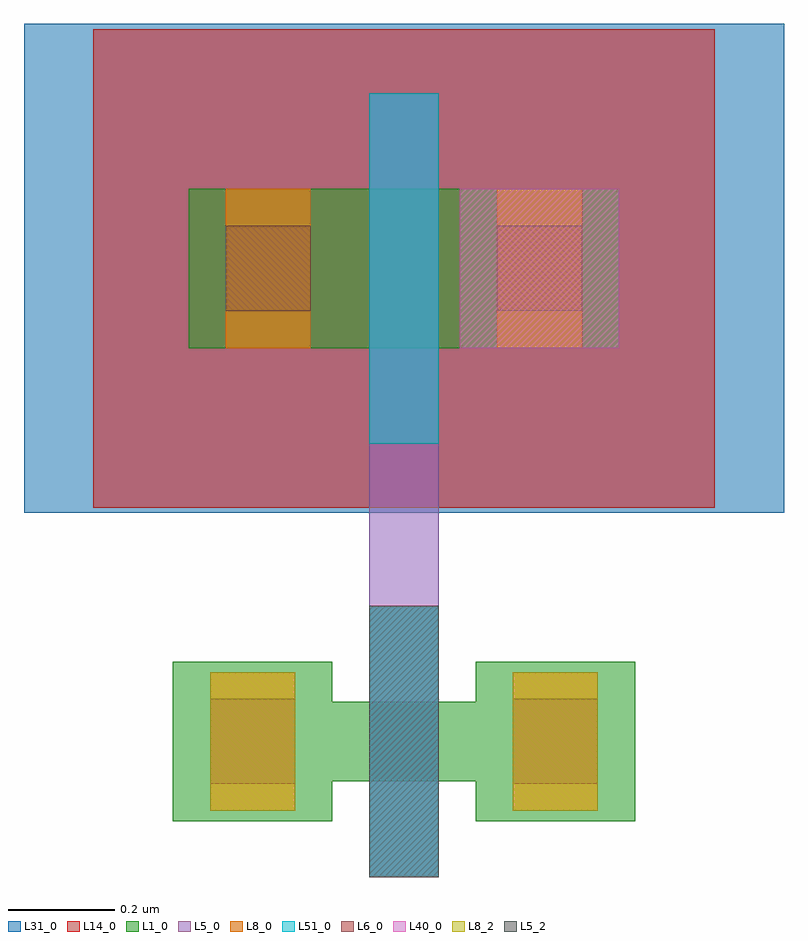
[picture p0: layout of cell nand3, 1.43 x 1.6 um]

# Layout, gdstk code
import gdstk
lib = gdstk.Library(unit=1e-6, precision=5e-09)
def R(c, l, rs):  # rectangles x0, y0, x1, y1
    for r in rs: c.add(gdstk.rectangle(r[:2], r[2:], *l))
L1_0 = (1, 0)
L5_0 = (5, 0)
L5_2 = (5, 2)
L6_0 = (6, 0)
L8_0 = (8, 0)
L8_2 = (8, 2)
L14_0 = (14, 0)
L31_0 = (31, 0)
L40_0 = (40, 0)
L51_0 = (51, 0)

nmos = lib.new_cell('nmos')
R(nmos, L1_0, [(0,0,0.3,0.3), (0.57,0,0.87,0.3), (0,0.075,0.87,0.225)])
R(nmos, L5_0, [(0.37,-0.105,0.5,0.405)])
R(nmos, L5_2, [(0.37,-0.105,0.5,0.405)])
R(nmos, L6_0, [(0.07,0.07,0.23,0.23), (0.64,0.07,0.8,0.23)])
R(nmos, L8_0, [(0.07,0.02,0.23,0.28), (0.64,0.02,0.8,0.28)])
R(nmos, L8_2, [(0.07,0.02,0.23,0.28), (0.64,0.02,0.8,0.28)])
R(nmos, L51_0, [(0.37,-0.105,0.5,0.405)])
nmos.add(gdstk.Label('nmos', (0.435,0.15), layer=63, texttype=0))
nmos.add(gdstk.Label('nmos', (0.435,0.15), layer=51, texttype=0))

pmos = lib.new_cell('pmos')
R(pmos, L1_0, [(0,0,0.3,0.3), (0,0,0.81,0.3), (0.51,0,0.81,0.3)])
R(pmos, L5_0, [(0.34,-0.18,0.47,0.48), (0.34,-0.18,0.47,0.48)])
R(pmos, L6_0, [(0.07,0.07,0.23,0.23), (0.58,0.07,0.74,0.23)])
R(pmos, L8_0, [(0.07,0,0.23,0.3), (0.07,0,0.23,0.3), (0.58,0,0.74,0.3), (0.58,0,0.74,0.3)])
R(pmos, L14_0, [(-0.18,-0.3,0.99,0.6)])
R(pmos, L31_0, [(-0.31,-0.31,1.12,0.61)])
R(pmos, L40_0, [(0.51,0,0.81,0.3)])
R(pmos, L51_0, [(0.34,-0.18,0.47,0.48)])
pmos.add(gdstk.Label('pmos', (0.405,0.15), layer=63, texttype=0))
pmos.add(gdstk.Label('pmos', (0.405,0.15), layer=51, texttype=0))

nand3 = lib.new_cell('nand3')
R(nand3, L5_0, [(-0.07,-0.09,0.06,0.215)])
nand3.add(gdstk.Reference(nmos, (-0.44,-0.495)))
nand3.add(gdstk.Reference(pmos, (-0.41,0.395)))

lib.write_gds('nand3.gds')
